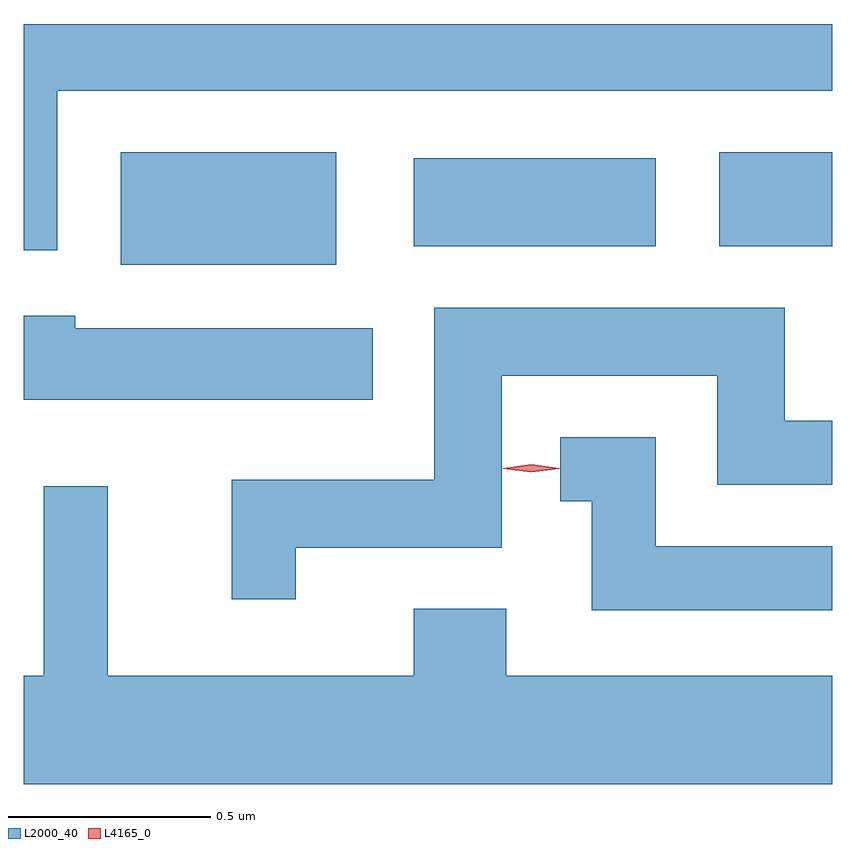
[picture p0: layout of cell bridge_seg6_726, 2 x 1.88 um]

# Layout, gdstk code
import gdstk
lib = gdstk.Library(unit=1e-6, precision=1e-09)
def R(c, l, rs):  # rectangles x0, y0, x1, y1
    for r in rs: c.add(gdstk.rectangle(r[:2], r[2:], *l))
def P(c, l, *ps):  # polygons
    for p in ps: c.add(gdstk.Polygon(p, *l))
L2000_40 = (2000, 40)
L4165_0 = (4165, 0)

bridge_seg6_726 = lib.new_cell('bridge_seg6_726')
R(bridge_seg6_726, L2000_40, [(311.466,1542.441,311.999,1542.719), (312.191,1542.486,312.789,1542.704), (312.946,1542.486,313.226,1542.719)])
P(bridge_seg6_726, L2000_40, [(311.309,1542.871),(313.226,1542.871),(313.226,1543.036),(311.226,1543.036),(311.226,1542.476),(311.309,1542.476)],
  [(311.899,1541.741),(312.409,1541.741),(312.409,1542.166),(312.941,1542.166),(312.941,1541.896),(313.226,1541.896),(313.226,1542.054),(313.109,1542.054),(313.109,1542.334),(312.241,1542.334),(312.241,1541.909),(311.741,1541.909),(311.741,1541.613),(311.899,1541.613)],
  [(312.089,1542.284),(311.354,1542.284),(311.354,1542.314),(311.226,1542.314),(311.226,1542.106),(312.089,1542.106)],
  [(313.226,1541.744),(312.789,1541.744),(312.789,1542.014),(312.553,1542.014),(312.553,1541.856),(312.631,1541.856),(312.631,1541.586),(313.226,1541.586)],
  [(313.226,1541.424),(312.419,1541.424),(312.419,1541.589),(312.191,1541.589),(312.191,1541.424),(311.434,1541.424),(311.434,1541.893),(311.276,1541.893),(311.276,1541.424),(311.226,1541.424),(311.226,1541.156),(313.226,1541.156)])
P(bridge_seg6_726, L4165_0, [(312.481,1541.927),(312.412,1541.936),(312.412,1541.937),(312.412,1541.937),(312.481,1541.947),(312.551,1541.937),(312.551,1541.936),(312.551,1541.936)])

lib.write_gds('bridge_seg6_726.gds')
